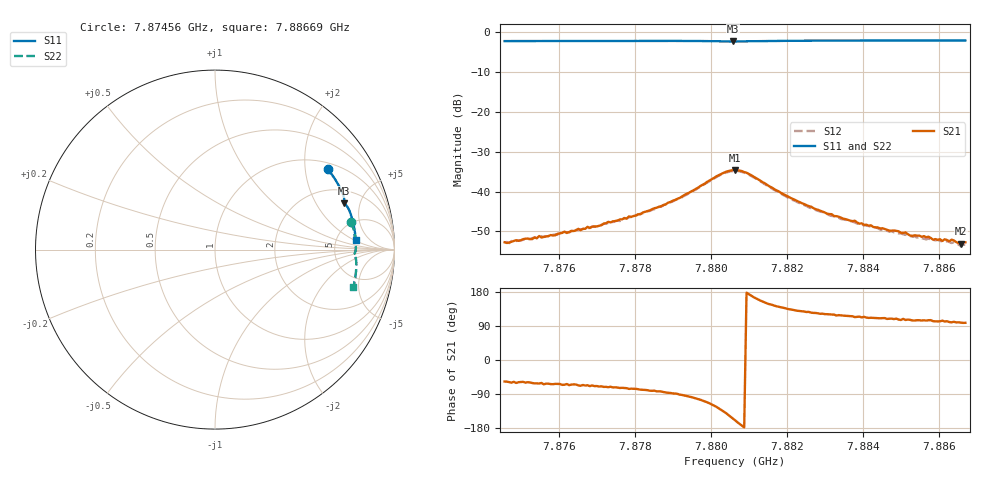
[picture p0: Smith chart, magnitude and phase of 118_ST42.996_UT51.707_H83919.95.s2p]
#  HZ  S  DB  R  50.00
! Rohde & Schwarz Vector Network Analyzer
! Rohde-Schwarz,ZNB20-2Port,1311601062101988,3.16
! Created: UTC 1/12/2023, 6:38:01 PM
! freq[Hz]  db:S11  ang:S11  db:S21  ang:S21  db:S12  ang:S12  db:S22  ang:S22
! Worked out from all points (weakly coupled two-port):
!   201 points, 7.87456 GHz to 7.88669 GHz, reference 50 ohm
!   highest |S21| = -34.61 dB at 7.88063 GHz (marker M1); lowest = -53.1 dB at 7.88657 GHz (marker M2)
!   lowest |S11| = -2.3 dB at 7.88057 GHz (marker M3), VSWR 7.46, Z = 144 + j177 ohm
!   |S11| at or under -10 dB: nowhere
!   |S22| runs from -2.2 to -2.0 dB; largest |S21 - S12| = 0.0012
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7.874563e9  -2.24 35.6  -52.72 -56.8  -52.73 -62.2  -2.20 11.5
7.875898e9  -2.22 32.0  -50.95 -63.0  -50.75 -67.1  -2.15 8.4
7.876626e9  -2.21 30.0  -49.34 -66.0  -49.41 -70.4  -2.14 6.6
7.877596e9  -2.20 27.4  -47.01 -73.9  -47.38 -76.1  -2.11 4.4
7.878627e9  -2.19 24.5  -43.81 -82.7  -43.85 -86.8  -2.10 1.9
7.879234e9  -2.21 22.7  -41.22 -92.2  -41.42 -95.6  -2.11 0.5
7.880204e9  -2.30 20.2  -35.87 -127.8  -36.00 -130.9  -2.20 -1.7
7.880568e9  -2.34 19.7  -34.62 -154.0  -34.87 -157.5  -2.25 -2.1
7.880629e9  -2.34 19.6  -34.61 -158.9  -34.79 -162.3  -2.25 -2.1
7.880932e9  -2.31 19.3  -35.27 177.6  -35.48 174.6  -2.22 -2.3
7.882024e9  -2.17 16.5  -41.22 134.5  -41.55 130.8  -2.06 -4.6
7.882691e9  -2.14 14.6  -44.13 124.3  -44.31 121.5  -2.02 -6.1
7.883419e9  -2.13 12.7  -46.53 117.7  -46.88 113.5  -2.00 -7.8
7.884693e9  -2.11 9.3  -49.80 109.0  -50.07 105.8  -1.98 -10.6
7.885117e9  -2.10 8.2  -50.25 105.6  -50.83 103.8  -1.98 -11.6
7.885238e9  -2.10 7.9  -51.02 105.9  -51.12 101.8  -1.97 -11.9
7.885724e9  -2.09 6.6  -51.32 105.0  -51.75 101.7  -1.97 -12.9
7.885845e9  -2.10 6.3  -52.07 102.3  -52.12 100.9  -1.97 -13.2
7.88627e9  -2.09 5.2  -52.47 100.2  -52.65 98.8  -1.96 -14.1
7.88633e9  -2.09 5.0  -52.06 99.4  -52.90 98.8  -1.95 -14.3
7.886573e9  -2.09 4.4  -53.07 98.5  -53.69 97.7  -1.96 -14.7
7.886694e9  -2.09 4.1  -52.70 98.1  -53.28 94.8  -1.95 -15.0
